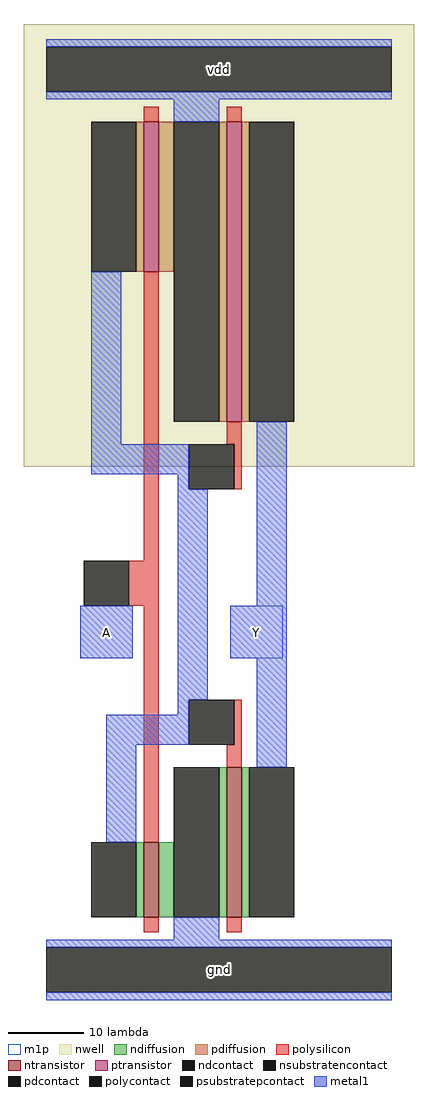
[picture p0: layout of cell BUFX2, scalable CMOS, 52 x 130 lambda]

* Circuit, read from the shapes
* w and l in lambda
.subckt BUFX2 A Y vdd gnd
M1 gnd A n1 gnd nfet w=10 l=2
M2 Y n1 gnd gnd nfet w=20 l=2
M3 vdd A n1 vdd pfet w=20 l=2
M4 Y n1 vdd vdd pfet w=40 l=2
.ends

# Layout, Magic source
magic
tech scmos
magscale 1 2
<< nwell >>
rect -12 134 92 252
<< ntransistor >>
rect 20 14 24 34
rect 42 14 46 54
<< ptransistor >>
rect 20 186 24 226
rect 42 146 46 226
<< ndiffusion >>
rect 18 14 20 34
rect 24 14 28 34
rect 40 14 42 54
rect 46 14 48 54
<< pdiffusion >>
rect 18 186 20 226
rect 24 186 28 226
rect 40 146 42 226
rect 46 146 48 226
<< ndcontact >>
rect 6 14 18 34
rect 28 14 40 54
rect 48 14 60 54
<< pdcontact >>
rect 6 186 18 226
rect 28 146 40 226
rect 48 146 60 226
<< psubstratepcontact >>
rect -6 -6 86 6
<< nsubstratencontact >>
rect -6 234 86 246
<< polysilicon >>
rect 20 226 24 230
rect 42 226 46 230
rect 20 109 24 186
rect 42 140 46 146
rect 44 128 46 140
rect 16 97 24 109
rect 20 34 24 97
rect 44 60 46 72
rect 42 54 46 60
rect 20 10 24 14
rect 42 10 46 14
<< polycontact >>
rect 32 128 44 140
rect 4 97 16 109
rect 32 60 44 72
<< metal1 >>
rect -6 246 86 248
rect -6 232 86 234
rect 28 226 40 232
rect 6 140 14 186
rect 6 132 32 140
rect 29 128 32 132
rect 3 83 17 97
rect 29 72 37 128
rect 50 97 58 146
rect 43 83 58 97
rect 29 68 32 72
rect 10 60 32 68
rect 10 34 18 60
rect 50 54 58 83
rect 28 8 40 14
rect -6 6 86 8
rect -6 -8 86 -6
<< m1p >>
rect 3 83 17 97
rect 43 83 57 97
<< labels >>
rlabel metal1 -6 -8 86 8 0 gnd
port 3 nsew ground bidirectional abutment
rlabel metal1 43 83 57 97 0 Y
port 1 nsew signal output
rlabel metal1 3 83 17 97 0 A
port 0 nsew signal input
rlabel metal1 -6 232 86 248 0 vdd
port 2 nsew power bidirectional abutment
<< properties >>
string FIXED_BBOX 0 0 80 240
string LEFclass CORE
string LEFsite core
string LEFsymmetry X Y
<< end >>
